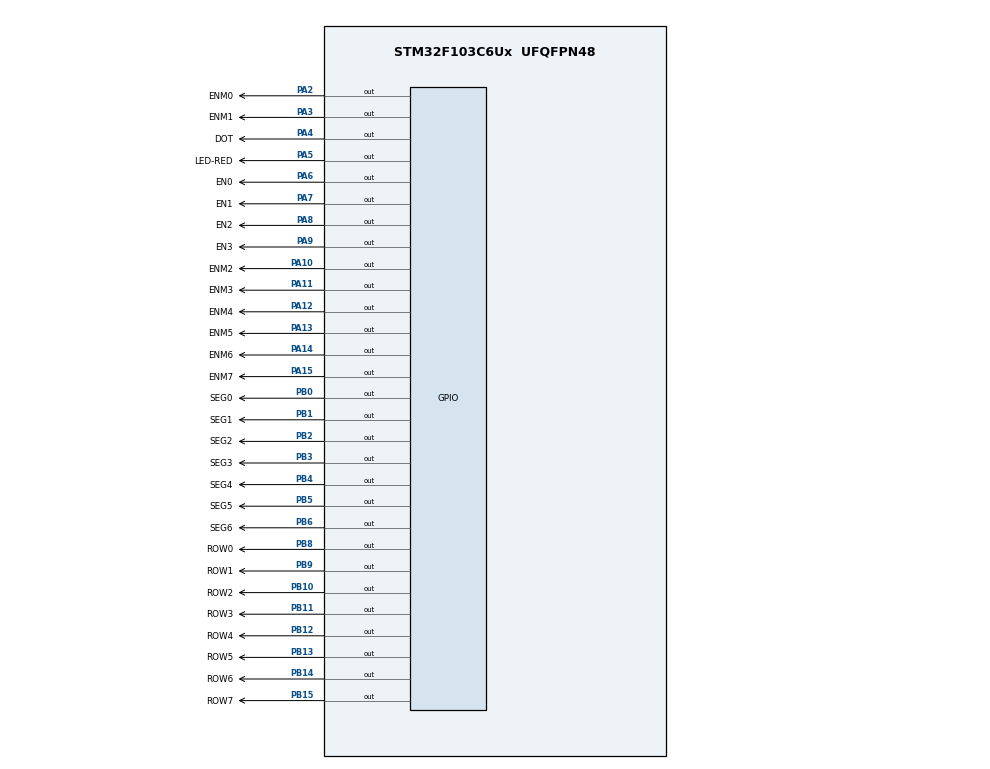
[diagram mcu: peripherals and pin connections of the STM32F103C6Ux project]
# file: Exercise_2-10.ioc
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Mcu.Family=STM32F1
Mcu.Name=STM32F103C6Ux
Mcu.Package=UFQFPN48
NVIC.PriorityGroup=NVIC_PRIORITYGROUP_4
NVIC.TIM2_IRQn=true\:0\:0\:false\:false\:true\:true\:true
PA10.GPIO_Label=ENM2
PA10.Signal=GPIO_Output
PA11.GPIO_Label=ENM3
PA11.Signal=GPIO_Output
PA12.GPIO_Label=ENM4
PA12.Signal=GPIO_Output
PA13.GPIO_Label=ENM5
PA13.Signal=GPIO_Output
PA14.GPIO_Label=ENM6
PA14.Signal=GPIO_Output
PA15.GPIO_Label=ENM7
PA15.Signal=GPIO_Output
PA2.GPIO_Label=ENM0
PA2.Signal=GPIO_Output
PA3.GPIO_Label=ENM1
PA3.Signal=GPIO_Output
PA4.GPIO_Label=DOT
PA4.Signal=GPIO_Output
PA5.GPIO_Label=LED-RED
PA5.Signal=GPIO_Output
PA6.GPIO_Label=EN0
PA6.Signal=GPIO_Output
PA7.GPIO_Label=EN1
PA7.Signal=GPIO_Output
PA8.GPIO_Label=EN2
PA8.Signal=GPIO_Output
PA9.GPIO_Label=EN3
PA9.Signal=GPIO_Output
PB0.GPIO_Label=SEG0
PB0.Signal=GPIO_Output
PB1.GPIO_Label=SEG1
PB1.Signal=GPIO_Output
PB10.GPIO_Label=ROW2
PB10.Signal=GPIO_Output
PB11.GPIO_Label=ROW3
PB11.Signal=GPIO_Output
PB12.GPIO_Label=ROW4
PB12.Signal=GPIO_Output
PB13.GPIO_Label=ROW5
PB13.Signal=GPIO_Output
PB14.GPIO_Label=ROW6
PB14.Signal=GPIO_Output
PB15.GPIO_Label=ROW7
PB15.Signal=GPIO_Output
PB2.GPIO_Label=SEG2
PB2.Signal=GPIO_Output
PB3.GPIO_Label=SEG3
PB3.Signal=GPIO_Output
PB4.GPIO_Label=SEG4
PB4.Signal=GPIO_Output
PB5.GPIO_Label=SEG5
PB5.Signal=GPIO_Output
PB6.GPIO_Label=SEG6
PB6.Signal=GPIO_Output
PB8.GPIO_Label=ROW0
PB8.Signal=GPIO_Output
PB9.GPIO_Label=ROW1
PB9.Signal=GPIO_Output
ProjectManager.HeapSize=0x200
ProjectManager.StackSize=0x400
ProjectManager.TargetToolchain=STM32CubeIDE
RCC.APB1Freq_Value=8000000
RCC.APB2Freq_Value=8000000
TIM2.Period=9
TIM2.Prescaler=7999
VP_SYS_VS_ND.Mode=No_Debug
VP_TIM2_VS_ClockSourceINT.Mode=Internal
board=custom

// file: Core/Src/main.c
/* USER CODE BEGIN Header */
/**
  ******************************************************************************
  * @file           : main.c
  * @brief          : Main program body
  ******************************************************************************
  * @attention
  *
  * <h2><center>&copy; Copyright (c) 2026 STMicroelectronics.
  * All rights reserved.</center></h2>
  *
  * This software component is licensed by ST under BSD 3-Clause license,
  * the "License"; You may not use this file except in compliance with the
  * License. You may obtain a copy of the License at:
  *                        opensource.org/licenses/BSD-3-Clause
  *
  ******************************************************************************
  */
/* USER CODE END Header */
#include "main.h"

TIM_HandleTypeDef htim2;

/* USER CODE BEGIN PV */
/*
 * LAB 2 ALL-IN-ONE DEMO
 * Change DEMO_MODE to 1..10, then Build again.
 * Teacher demo modes: 4, 5, 9, 10.
 */
#define DEMO_MODE           10
#define TIMER_CYCLE_MS      10
#define MATRIX_SCAN_MS      2

/*
 * Matrix polarity for the Proteus MATRIX-8X8-RED + ULN2803 circuit.
 * Default: ROW is active HIGH and ENM is active HIGH (ULN2803 sinks selected COL).
 * If the matrix is inverted on your exact Proteus component, change 1 -> 0.
 */
#define MATRIX_ROW_ACTIVE_HIGH   1
#define MATRIX_ENM_ACTIVE_HIGH   1

const int MAX_LED = 4;
int index_led = 0;
int current_led = 0;
int led_buffer[4] = {1, 2, 3, 4};

volatile int counter_7seg = 0;
volatile int counter_dot = 0;

int hour = 15;
int minute = 8;
int second = 50;

/* Software timers used by Exercises 6-10 */
volatile int timer0_counter = 0;
volatile int timer0_flag = 0;
volatile int timer1_counter = 0;
volatile int timer1_flag = 0;
volatile int timer2_counter = 0;
volatile int timer2_flag = 0;

/* LED Matrix */
const int MAX_LED_MATRIX = 8;
int index_led_matrix = 0;
int matrix_shift_count = 0;

/* Each byte represents one matrix column; each bit represents one row. */
const uint8_t letter_A[8] = {
    0x00,
    0x7E,
    0x11,
    0x11,
    0x11,
    0x7E,
    0x00,
    0x00
};

uint8_t matrix_buffer[8] = {
    0x00,
    0x7E,
    0x11,
    0x11,
    0x11,
    0x7E,
    0x00,
    0x00
};
/* USER CODE END PV */

void SystemClock_Config(void);
static void MX_GPIO_Init(void);
static void MX_TIM2_Init(void);

/* USER CODE BEGIN PFP */
void display7SEG(int num);
void update7SEG(int index);
void updateClockBuffer(void);

void setTimer0(int duration);
void setTimer1(int duration);
void setTimer2(int duration);
void timer_run(void);

void turnOff7SEG(void);
void turnOffMatrix(void);

void writeMatrixRows(uint8_t data);
void updateLEDMatrix(int index);
void matrixScanTask(void);
void loadLetterA(void);
void shiftMatrixLeft(void);
void shiftMatrixRight(void);
/* USER CODE END PFP */

/* USER CODE BEGIN 0 */
void setTimer0(int duration)
{
    timer0_counter = duration / TIMER_CYCLE_MS;
    timer0_flag = 0;
}

void setTimer1(int duration)
{
    timer1_counter = duration / TIMER_CYCLE_MS;
    timer1_flag = 0;
}

void setTimer2(int duration)
{
    timer2_counter = duration / TIMER_CYCLE_MS;
    timer2_flag = 0;
}

void timer_run(void)
{
    if (timer0_counter > 0)
    {
        timer0_counter--;
        if (timer0_counter == 0)
            timer0_flag = 1;
    }

    if (timer1_counter > 0)
    {
        timer1_counter--;
        if (timer1_counter == 0)
            timer1_flag = 1;
    }

    if (timer2_counter > 0)
    {
        timer2_counter--;
        if (timer2_counter == 0)
            timer2_flag = 1;
    }
}
/* USER CODE END 0 */

int main(void)
{

  /* MCU Configuration--------------------------------------------------------*/

  /* Reset of all peripherals, Initializes the Flash interface and the Systick. */
  HAL_Init();

  /* Configure the system clock */
  SystemClock_Config();

  /* Initialize all configured peripherals */
  MX_GPIO_Init();
  MX_TIM2_Init();
  /* USER CODE BEGIN 2 */
  /* Safe initial state */
  turnOff7SEG();
  turnOffMatrix();

  /* DOT and LED_RED are connected to +3.3 V in the Proteus circuit:
     SET keeps them OFF. */
  HAL_GPIO_WritePin(DOT_GPIO_Port, DOT_Pin, GPIO_PIN_SET);
  HAL_GPIO_WritePin(LED_RED_GPIO_Port, LED_RED_Pin, GPIO_PIN_SET);

#if DEMO_MODE == 1
  /* Ex1: two 7-segment displays, 1 and 2, switching every 500 ms */
  display7SEG(1);
  HAL_GPIO_WritePin(EN0_GPIO_Port, EN0_Pin, GPIO_PIN_RESET);
  current_led = 0;

#elif DEMO_MODE == 2
  /* Ex2: 1,2,3,0 and DOT every second */
  led_buffer[0] = 1;
  led_buffer[1] = 2;
  led_buffer[2] = 3;
  led_buffer[3] = 0;
  update7SEG(0);
  index_led = 1;

#elif DEMO_MODE == 3
  /* Ex3: update7SEG() + led_buffer[] */
  led_buffer[0] = 1;
  led_buffer[1] = 2;
  led_buffer[2] = 3;
  led_buffer[3] = 4;
  update7SEG(0);
  index_led = 1;

#elif DEMO_MODE == 4
  /* Ex4: complete 4-digit scan frequency = 1 Hz
     => one digit every 250 ms */
  led_buffer[0] = 1;
  led_buffer[1] = 2;
  led_buffer[2] = 3;
  led_buffer[3] = 4;
  update7SEG(0);
  index_led = 1;

#elif DEMO_MODE == 5
  /* Ex5: digital clock HH:MM, initially 15:08:50 */
  hour = 15;
  minute = 8;
  second = 50;
  updateClockBuffer();
  update7SEG(0);
  index_led = 1;

#elif DEMO_MODE == 6
  /* Ex6: software timer demo */
  updateClockBuffer();
  update7SEG(0);
  index_led = 1;
  setTimer0(1000);

#elif DEMO_MODE == 7
  /* Ex7: clock update + DOT in main using software timer */
  updateClockBuffer();
  update7SEG(0);
  index_led = 1;
  setTimer0(1000);

#elif DEMO_MODE == 8
  /* Ex8: both clock and 7SEG scanning are moved to main */
  updateClockBuffer();
  setTimer0(1000);
  setTimer1(250);

#elif DEMO_MODE == 9
  /* Ex9: static letter A on the 8x8 LED matrix */
  loadLetterA();

#elif DEMO_MODE == 10
  /* Ex10: letter A shifts left every 500 ms */
  loadLetterA();
  setTimer2(500);
#endif

  /* Start TIM2 only once. TIM2 interrupt period = 10 ms. */
  HAL_TIM_Base_Start_IT(&htim2);
/* USER CODE END 2 */

  /* Infinite loop */
  while (1)
  {

    /* USER CODE BEGIN 3 */
#if DEMO_MODE == 1
    /* Ex1 is handled in TIM2 callback. */

#elif DEMO_MODE == 2
    /* Ex2 is handled in TIM2 callback. */

#elif DEMO_MODE == 3
    /* Ex3 is handled in TIM2 callback. */

#elif DEMO_MODE == 4
    /* Ex4 is handled in TIM2 callback. */

#elif DEMO_MODE == 5
    /*
     * Ex5 follows the specification: the clock is updated in main
     * with a blocking HAL_Delay(1000), while 7SEG scanning stays in TIM2.
     */
    HAL_Delay(1000);

    second++;

    if (second >= 60)
    {
        second = 0;
        minute++;
    }

    if (minute >= 60)
    {
        minute = 0;
        hour++;
    }

    if (hour >= 24)
    {
        hour = 0;
    }

    updateClockBuffer();

#elif DEMO_MODE == 6
    /* Ex6 software timer test: first toggle after 1 s, then every 2 s. */
    if (timer0_flag == 1)
    {
        HAL_GPIO_TogglePin(LED_RED_GPIO_Port, LED_RED_Pin);
        setTimer0(2000);
    }

#elif DEMO_MODE == 7
    /* Ex7: remove HAL_Delay; update clock and DOT using software timer. */
    if (timer0_flag == 1)
    {
        setTimer0(1000);

        second++;

        if (second >= 60)
        {
            second = 0;
            minute++;
        }

        if (minute >= 60)
        {
            minute = 0;
            hour++;
        }

        if (hour >= 24)
        {
            hour = 0;
        }

        updateClockBuffer();
        HAL_GPIO_TogglePin(DOT_GPIO_Port, DOT_Pin);
    }

#elif DEMO_MODE == 8
    /* Ex8: interrupt only handles software timers. */
    if (timer0_flag == 1)
    {
        setTimer0(1000);

        second++;

        if (second >= 60)
        {
            second = 0;
            minute++;
        }

        if (minute >= 60)
        {
            minute = 0;
            hour++;
        }

        if (hour >= 24)
        {
            hour = 0;
        }

        updateClockBuffer();
        HAL_GPIO_TogglePin(DOT_GPIO_Port, DOT_Pin);
    }

    if (timer1_flag == 1)
    {
        setTimer1(250);

        update7SEG(index_led);
        index_led++;

        if (index_led >= MAX_LED)
            index_led = 0;
    }

#elif DEMO_MODE == 9
    /* Ex9: updateLEDMatrix() is invoked from main as required. */
    matrixScanTask();

#elif DEMO_MODE == 10
    /* Ex10: continuously scan the matrix and update animation every 500 ms. */
    matrixScanTask();

    if (timer2_flag == 1)
    {
        setTimer2(500);
        shiftMatrixLeft();
    }
#endif
  }
  /* USER CODE END 3 */
}

void SystemClock_Config(void)
{
  RCC_OscInitTypeDef RCC_OscInitStruct = {0};
  RCC_ClkInitTypeDef RCC_ClkInitStruct = {0};

  /** Initializes the RCC Oscillators according to the specified parameters
  * in the RCC_OscInitTypeDef structure.
  */
  RCC_OscInitStruct.OscillatorType = RCC_OSCILLATORTYPE_HSI;
  RCC_OscInitStruct.HSIState = RCC_HSI_ON;
  RCC_OscInitStruct.HSICalibrationValue = RCC_HSICALIBRATION_DEFAULT;
  RCC_OscInitStruct.PLL.PLLState = RCC_PLL_NONE;
  if (HAL_RCC_OscConfig(&RCC_OscInitStruct) != HAL_OK)
  {
    Error_Handler();
  }
  /** Initializes the CPU, AHB and APB buses clocks
  */
  RCC_ClkInitStruct.ClockType = RCC_CLOCKTYPE_HCLK|RCC_CLOCKTYPE_SYSCLK
                              |RCC_CLOCKTYPE_PCLK1|RCC_CLOCKTYPE_PCLK2;
  RCC_ClkInitStruct.SYSCLKSource = RCC_SYSCLKSOURCE_HSI;
  RCC_ClkInitStruct.AHBCLKDivider = RCC_SYSCLK_DIV1;
  RCC_ClkInitStruct.APB1CLKDivider = RCC_HCLK_DIV1;
  RCC_ClkInitStruct.APB2CLKDivider = RCC_HCLK_DIV1;

  if (HAL_RCC_ClockConfig(&RCC_ClkInitStruct, FLASH_LATENCY_0) != HAL_OK)
  {
    Error_Handler();
  }
}

static void MX_TIM2_Init(void)
{

  TIM_ClockConfigTypeDef sClockSourceConfig = {0};
  TIM_MasterConfigTypeDef sMasterConfig = {0};

  htim2.Instance = TIM2;
  htim2.Init.Prescaler = 7999;
  htim2.Init.CounterMode = TIM_COUNTERMODE_UP;
  htim2.Init.Period = 9;
  htim2.Init.ClockDivision = TIM_CLOCKDIVISION_DIV1;
  htim2.Init.AutoReloadPreload = TIM_AUTORELOAD_PRELOAD_DISABLE;
  if (HAL_TIM_Base_Init(&htim2) != HAL_OK)
  {
    Error_Handler();
  }
  sClockSourceConfig.ClockSource = TIM_CLOCKSOURCE_INTERNAL;
  if (HAL_TIM_ConfigClockSource(&htim2, &sClockSourceConfig) != HAL_OK)
  {
    Error_Handler();
  }
  sMasterConfig.MasterOutputTrigger = TIM_TRGO_RESET;
  sMasterConfig.MasterSlaveMode = TIM_MASTERSLAVEMODE_DISABLE;
  if (HAL_TIMEx_MasterConfigSynchronization(&htim2, &sMasterConfig) != HAL_OK)
  {
    Error_Handler();
  }

}

static void MX_GPIO_Init(void)
{
  GPIO_InitTypeDef GPIO_InitStruct = {0};

  /* GPIO Ports Clock Enable */
  __HAL_RCC_GPIOA_CLK_ENABLE();
  __HAL_RCC_GPIOB_CLK_ENABLE();

  /*Configure GPIO pin Output Level */
  HAL_GPIO_WritePin(GPIOA, ENM0_Pin|ENM1_Pin|DOT_Pin|LED_RED_Pin
                          |EN0_Pin|EN1_Pin|EN2_Pin|EN3_Pin
                          |ENM2_Pin|ENM3_Pin|ENM4_Pin|ENM5_Pin
                          |ENM6_Pin|ENM7_Pin, GPIO_PIN_RESET);

  /*Configure GPIO pin Output Level */
  HAL_GPIO_WritePin(GPIOB, SEG0_Pin|SEG1_Pin|SEG2_Pin|ROW2_Pin
                          |ROW3_Pin|ROW4_Pin|ROW5_Pin|ROW6_Pin
                          |ROW7_Pin|SEG3_Pin|SEG4_Pin|SEG5_Pin
                          |SEG6_Pin|ROW0_Pin|ROW1_Pin, GPIO_PIN_RESET);

  /*Configure GPIO pins : ENM0_Pin ENM1_Pin DOT_Pin LED_RED_Pin
                           EN0_Pin EN1_Pin EN2_Pin EN3_Pin
                           ENM2_Pin ENM3_Pin ENM4_Pin ENM5_Pin
                           ENM6_Pin ENM7_Pin */
  GPIO_InitStruct.Pin = ENM0_Pin|ENM1_Pin|DOT_Pin|LED_RED_Pin
                          |EN0_Pin|EN1_Pin|EN2_Pin|EN3_Pin
                          |ENM2_Pin|ENM3_Pin|ENM4_Pin|ENM5_Pin
                          |ENM6_Pin|ENM7_Pin;
  GPIO_InitStruct.Mode = GPIO_MODE_OUTPUT_PP;
  GPIO_InitStruct.Pull = GPIO_NOPULL;
  GPIO_InitStruct.Speed = GPIO_SPEED_FREQ_LOW;
  HAL_GPIO_Init(GPIOA, &GPIO_InitStruct);

  /*Configure GPIO pins : SEG0_Pin SEG1_Pin SEG2_Pin ROW2_Pin
                           ROW3_Pin ROW4_Pin ROW5_Pin ROW6_Pin
                           ROW7_Pin SEG3_Pin SEG4_Pin SEG5_Pin
                           SEG6_Pin ROW0_Pin ROW1_Pin */
  GPIO_InitStruct.Pin = SEG0_Pin|SEG1_Pin|SEG2_Pin|ROW2_Pin
                          |ROW3_Pin|ROW4_Pin|ROW5_Pin|ROW6_Pin
                          |ROW7_Pin|SEG3_Pin|SEG4_Pin|SEG5_Pin
                          |SEG6_Pin|ROW0_Pin|ROW1_Pin;
  GPIO_InitStruct.Mode = GPIO_MODE_OUTPUT_PP;
  GPIO_InitStruct.Pull = GPIO_NOPULL;
  GPIO_InitStruct.Speed = GPIO_SPEED_FREQ_LOW;
  HAL_GPIO_Init(GPIOB, &GPIO_InitStruct);

}

/* USER CODE BEGIN 4 */
void display7SEG(int num)
{
    static const uint8_t digit[10] = {
        0x3F, 0x06, 0x5B, 0x4F, 0x66,
        0x6D, 0x7D, 0x07, 0x7F, 0x6F
    };

    uint16_t segPins[7] = {
        SEG0_Pin, SEG1_Pin, SEG2_Pin, SEG3_Pin,
        SEG4_Pin, SEG5_Pin, SEG6_Pin
    };

    if (num < 0 || num > 9)
        return;

    for (int i = 0; i < 7; i++)
    {
        /* Common-anode 7SEG: LOW = segment ON */
        HAL_GPIO_WritePin(
            GPIOB,
            segPins[i],
            (digit[num] & (1 << i)) ? GPIO_PIN_RESET : GPIO_PIN_SET
        );
    }
}

void turnOff7SEG(void)
{
    /* PNP digit enable is active LOW. */
    HAL_GPIO_WritePin(
        GPIOA,
        EN0_Pin | EN1_Pin | EN2_Pin | EN3_Pin,
        GPIO_PIN_SET
    );
}

void update7SEG(int index)
{
    if (index < 0 || index >= MAX_LED)
        return;

    turnOff7SEG();
    display7SEG(led_buffer[index]);

    switch (index)
    {
        case 0:
            HAL_GPIO_WritePin(EN0_GPIO_Port, EN0_Pin, GPIO_PIN_RESET);
            break;
        case 1:
            HAL_GPIO_WritePin(EN1_GPIO_Port, EN1_Pin, GPIO_PIN_RESET);
            break;
        case 2:
            HAL_GPIO_WritePin(EN2_GPIO_Port, EN2_Pin, GPIO_PIN_RESET);
            break;
        case 3:
            HAL_GPIO_WritePin(EN3_GPIO_Port, EN3_Pin, GPIO_PIN_RESET);
            break;
        default:
            break;
    }
}

void updateClockBuffer(void)
{
    led_buffer[0] = hour / 10;
    led_buffer[1] = hour % 10;
    led_buffer[2] = minute / 10;
    led_buffer[3] = minute % 10;
}

void HAL_TIM_PeriodElapsedCallback(TIM_HandleTypeDef *htim)
{
    if (htim->Instance != TIM2)
        return;

#if DEMO_MODE == 1
    /* Ex1: switch between display 1 and 2 every 500 ms. */
    counter_7seg++;

    if (counter_7seg >= 50)
    {
        counter_7seg = 0;
        turnOff7SEG();

        if (current_led == 0)
        {
            display7SEG(2);
            HAL_GPIO_WritePin(EN1_GPIO_Port, EN1_Pin, GPIO_PIN_RESET);
            current_led = 1;
        }
        else
        {
            display7SEG(1);
            HAL_GPIO_WritePin(EN0_GPIO_Port, EN0_Pin, GPIO_PIN_RESET);
            current_led = 0;
        }
    }

#elif DEMO_MODE == 2
    /* Ex2: switch digits every 500 ms; DOT toggles every second. */
    counter_7seg++;
    counter_dot++;

    if (counter_7seg >= 50)
    {
        counter_7seg = 0;

        update7SEG(index_led);
        index_led++;

        if (index_led >= MAX_LED)
            index_led = 0;
    }

    if (counter_dot >= 100)
    {
        counter_dot = 0;
        HAL_GPIO_TogglePin(DOT_GPIO_Port, DOT_Pin);
    }

#elif DEMO_MODE == 3
    /* Ex3: update7SEG() is invoked in the timer interrupt. */
    counter_7seg++;
    counter_dot++;

    if (counter_7seg >= 50)
    {
        counter_7seg = 0;

        update7SEG(index_led);
        index_led++;

        if (index_led >= MAX_LED)
            index_led = 0;
    }

    if (counter_dot >= 100)
    {
        counter_dot = 0;
        HAL_GPIO_TogglePin(DOT_GPIO_Port, DOT_Pin);
    }

#elif DEMO_MODE == 4 || DEMO_MODE == 5
    /*
     * Ex4/Ex5: scan one digit every 250 ms.
     * Full scan period = 4 x 250 ms = 1 s => 1 Hz.
     */
    counter_7seg++;
    counter_dot++;

    if (counter_7seg >= 25)
    {
        counter_7seg = 0;

        update7SEG(index_led);
        index_led++;

        if (index_led >= MAX_LED)
            index_led = 0;
    }

    if (counter_dot >= 100)
    {
        counter_dot = 0;
        HAL_GPIO_TogglePin(DOT_GPIO_Port, DOT_Pin);
    }

#elif DEMO_MODE == 6
    /* Ex6 keeps the previous 7SEG processing and adds software timer. */
    timer_run();

    counter_7seg++;
    counter_dot++;

    if (counter_7seg >= 25)
    {
        counter_7seg = 0;

        update7SEG(index_led);
        index_led++;

        if (index_led >= MAX_LED)
            index_led = 0;
    }

    if (counter_dot >= 100)
    {
        counter_dot = 0;
        HAL_GPIO_TogglePin(DOT_GPIO_Port, DOT_Pin);
    }

#elif DEMO_MODE == 7
    /* Ex7: software clock in main, but update7SEG still in interrupt. */
    timer_run();

    counter_7seg++;

    if (counter_7seg >= 25)
    {
        counter_7seg = 0;

        update7SEG(index_led);
        index_led++;

        if (index_led >= MAX_LED)
            index_led = 0;
    }

#else
    /*
     * Ex8-10: interrupt only handles software timers.
     * All application processing is performed in main.
     */
    timer_run();
#endif
}

#if MATRIX_ROW_ACTIVE_HIGH
#define MATRIX_ROW_ON      GPIO_PIN_SET
#define MATRIX_ROW_OFF     GPIO_PIN_RESET
#else
#define MATRIX_ROW_ON      GPIO_PIN_RESET
#define MATRIX_ROW_OFF     GPIO_PIN_SET
#endif

#if MATRIX_ENM_ACTIVE_HIGH
#define MATRIX_ENM_ON      GPIO_PIN_SET
#define MATRIX_ENM_OFF     GPIO_PIN_RESET
#else
#define MATRIX_ENM_ON      GPIO_PIN_RESET
#define MATRIX_ENM_OFF     GPIO_PIN_SET
#endif

void turnOffMatrix(void)
{
    HAL_GPIO_WritePin(
        GPIOA,
        ENM0_Pin | ENM1_Pin | ENM2_Pin | ENM3_Pin |
        ENM4_Pin | ENM5_Pin | ENM6_Pin | ENM7_Pin,
        MATRIX_ENM_OFF
    );
}

void writeMatrixRows(uint8_t data)
{
    uint16_t rowPins[8] = {
        ROW0_Pin, ROW1_Pin, ROW2_Pin, ROW3_Pin,
        ROW4_Pin, ROW5_Pin, ROW6_Pin, ROW7_Pin
    };

    for (int i = 0; i < 8; i++)
    {
        HAL_GPIO_WritePin(
            GPIOB,
            rowPins[i],
            (data & (1 << i)) ? MATRIX_ROW_ON : MATRIX_ROW_OFF
        );
    }
}

void updateLEDMatrix(int index)
{
    if (index < 0 || index >= MAX_LED_MATRIX)
        return;

    /* Disable all columns before changing row data to reduce ghosting. */
    turnOffMatrix();

    /* Send the row pattern for the selected column. */
    writeMatrixRows(matrix_buffer[index]);

    switch (index)
    {
        case 0:
            HAL_GPIO_WritePin(ENM0_GPIO_Port, ENM0_Pin, MATRIX_ENM_ON);
            break;
        case 1:
            HAL_GPIO_WritePin(ENM1_GPIO_Port, ENM1_Pin, MATRIX_ENM_ON);
            break;
        case 2:
            HAL_GPIO_WritePin(ENM2_GPIO_Port, ENM2_Pin, MATRIX_ENM_ON);
            break;
        case 3:
            HAL_GPIO_WritePin(ENM3_GPIO_Port, ENM3_Pin, MATRIX_ENM_ON);
            break;
        case 4:
            HAL_GPIO_WritePin(ENM4_GPIO_Port, ENM4_Pin, MATRIX_ENM_ON);
            break;
        case 5:
            HAL_GPIO_WritePin(ENM5_GPIO_Port, ENM5_Pin, MATRIX_ENM_ON);
            break;
        case 6:
            HAL_GPIO_WritePin(ENM6_GPIO_Port, ENM6_Pin, MATRIX_ENM_ON);
            break;
        case 7:
            HAL_GPIO_WritePin(ENM7_GPIO_Port, ENM7_Pin, MATRIX_ENM_ON);
            break;
        default:
            break;
    }
}

void matrixScanTask(void)
{
    static uint32_t last_scan = 0;

    if ((HAL_GetTick() - last_scan) >= MATRIX_SCAN_MS)
    {
        last_scan = HAL_GetTick();

        updateLEDMatrix(index_led_matrix);

        index_led_matrix++;

        if (index_led_matrix >= MAX_LED_MATRIX)
            index_led_matrix = 0;
    }
}

void loadLetterA(void)
{
    for (int i = 0; i < MAX_LED_MATRIX; i++)
        matrix_buffer[i] = letter_A[i];

    index_led_matrix = 0;
    matrix_shift_count = 0;
}

void shiftMatrixLeft(void)
{
    for (int i = 7; i > 0; i--)
    {
        matrix_buffer[i] = matrix_buffer[i - 1];
    }

    matrix_buffer[0] = 0x00;

    matrix_shift_count++;

    if (matrix_shift_count >= 8)
    {
        loadLetterA();
    }
}

void shiftMatrixRight(void)
{
	for (int i = 0; i < MAX_LED_MATRIX - 1; i++)
	        matrix_buffer[i] = matrix_buffer[i + 1];

	    matrix_buffer[MAX_LED_MATRIX - 1] = 0x00;
	    matrix_shift_count++;

	    /* Reload A after it has shifted completely out of the matrix. */
	    if (matrix_shift_count >= MAX_LED_MATRIX)
	        loadLetterA();
	}
/* USER CODE END 4 */

void Error_Handler(void)
{
  __disable_irq();
  while (1)
  {
  }
}

/************************ (C) COPYRIGHT STMicroelectronics *****END OF FILE****/
